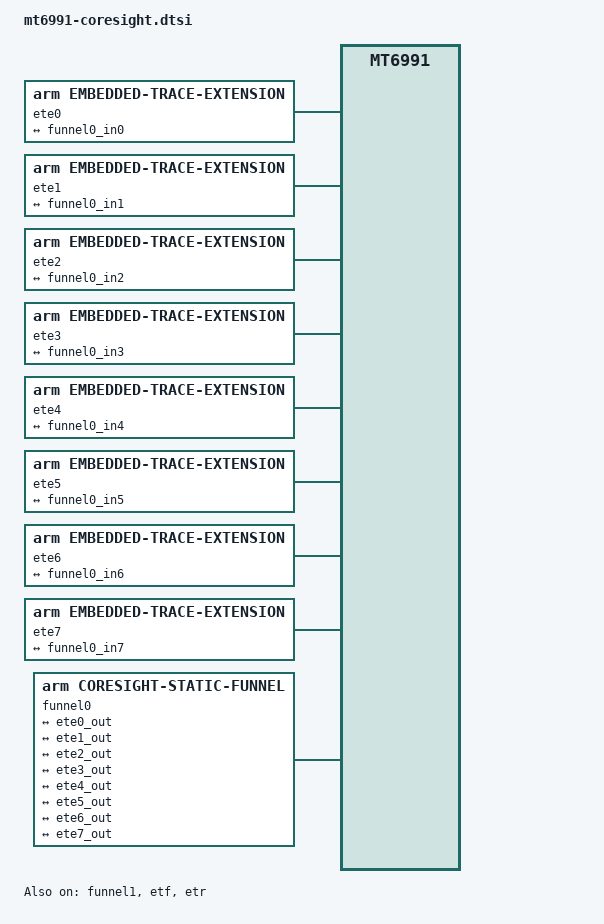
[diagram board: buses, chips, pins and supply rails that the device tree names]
// SPDX-License-Identifier: GPL-2.0
/*
 * Copyright (c) 2024 MediaTek Inc.
 */

/ {
	soc {
		funnel1: funnel@d041000 {
			compatible = "arm,coresight-dynamic-funnel", "arm,primecell";
			reg = <0 0x0d041000 0 0x1000>;

			status = "ok";

			clocks = <&clk26m>;
			clock-names = "apb_pclk";

			in-ports {
				#address-cells = <1>;
				#size-cells = <0>;

				port@0 {
					reg = <0>;
					funnel1_in0: endpoint {
						remote-endpoint = <&btts_out>;
					};
				};

				port@1 {
					reg = <1>;
					funnel1_in1: endpoint {
						remote-endpoint = <&btm0_out>;
					};
				};

				port@2 {
					reg = <2>;
					funnel1_in2: endpoint {
						remote-endpoint = <&btm1_out>;
					};
				};

				port@3 {
					reg = <3>;
					funnel1_in3: endpoint {
						remote-endpoint = <&btm2_out>;
					};
				};

				port@6 {
					reg = <6>;
					funnel1_in6: endpoint {
						remote-endpoint = <&funnel0_out>;
					};
				};

				port@7 {
					reg = <7>;
					funnel1_in7: endpoint {
						remote-endpoint = <&gpu_etm_out>;
					};
				};
			};

			out-ports {
				port {
					funnel1_out: endpoint {
						remote-endpoint = <&etf_in>;
					};
				};
			};
		};

		etf: etf@d044000 {
			compatible = "arm,coresight-tmc", "arm,primecell";
			reg = <0 0x0d044000 0 0x1000>;

			clocks = <&clk26m>;
			clock-names = "apb_pclk";

			status = "ok";

			in-ports {
				port {
					etf_in: endpoint {
						remote-endpoint = <&funnel1_out>;
					};
				};
			};

			out-ports {
				port {
					etf_out: endpoint {
						remote-endpoint = <&etr_in>;
					};
				};
			};
		};

		etr: etr@d07d000 {
			compatible = "arm,coresight-tmc", "arm,primecell";
			reg = <0 0x0d07d000 0 0x1000>;

			clocks = <&clk26m>;
			clock-names = "apb_pclk";

			status = "ok";

			in-ports {
				port {
					etr_in: endpoint {
						remote-endpoint = <&etf_out>;
					};
				};
			};
		};

		btts: btts {
			compatible = "arm,coresight-dummy-source";

			status = "ok";

			out-ports {
				port {
					btts_out: endpoint {
						remote-endpoint = <&funnel1_in0>;
					};
				};
			};
		};

		btm0: btm0 {
			compatible = "arm,coresight-dummy-source";

			status = "ok";

			out-ports {
				port {
					btm0_out: endpoint {
						remote-endpoint = <&funnel1_in1>;
					};
				};
			};
		};

		btm1: btm1 {
			compatible = "arm,coresight-dummy-source";

			status = "ok";

			out-ports {
				port {
					btm1_out: endpoint {
						remote-endpoint = <&funnel1_in2>;
					};
				};
			};
		};

		btm2: btm2 {
			compatible = "arm,coresight-dummy-source";

			status = "ok";

			out-ports {
				port {
					btm2_out: endpoint {
						remote-endpoint = <&funnel1_in3>;
					};
				};
			};
		};

		gpu_etm: gpu-etm {
			compatible = "arm,coresight-dummy-source";

			status = "ok";

			out-ports {
				port {
					gpu_etm_out: endpoint {
						remote-endpoint = <&funnel1_in7>;
					};
				};
			};
		};

		ete0: ete0 {
			compatible = "arm,embedded-trace-extension";
			cpu = <&cpu0>;

			status = "ok";

			out-ports {
				port {
					ete0_out: endpoint {
						remote-endpoint = <&funnel0_in0>;
					};
				};
			};
		};

		ete1: ete1 {
			compatible = "arm,embedded-trace-extension";
			cpu = <&cpu1>;

			status = "ok";

			out-ports {
				port {
					ete1_out: endpoint {
						remote-endpoint = <&funnel0_in1>;
					};
				};
			};
		};

		ete2: ete2 {
			compatible = "arm,embedded-trace-extension";
			cpu = <&cpu2>;

			status = "ok";

			out-ports {
				port {
					ete2_out: endpoint {
						remote-endpoint = <&funnel0_in2>;
					};
				};
			};
		};

		ete3: ete3 {
			compatible = "arm,embedded-trace-extension";
			cpu = <&cpu3>;

			status = "ok";

			out-ports {
				port {
					ete3_out: endpoint {
						remote-endpoint = <&funnel0_in3>;
					};
				};
			};
		};

		ete4: ete4 {
			compatible = "arm,embedded-trace-extension";
			cpu = <&cpu4>;

			status = "ok";

			out-ports {
				port {
					ete4_out: endpoint {
						remote-endpoint = <&funnel0_in4>;
					};
				};
			};
		};

		ete5: ete5 {
			compatible = "arm,embedded-trace-extension";
			cpu = <&cpu5>;

			status = "ok";

			out-ports {
				port {
					ete5_out: endpoint {
						remote-endpoint = <&funnel0_in5>;
					};
				};
			};
		};

		ete6: ete6 {
			compatible = "arm,embedded-trace-extension";
			cpu = <&cpu6>;

			status = "ok";

			out-ports {
				port {
					ete6_out: endpoint {
						remote-endpoint = <&funnel0_in6>;
					};
				};
			};
		};

		ete7: ete7 {
			compatible = "arm,embedded-trace-extension";
			cpu = <&cpu7>;

			status = "ok";

			out-ports {
				port {
					ete7_out: endpoint {
						remote-endpoint = <&funnel0_in7>;
					};
				};
			};
		};

		funnel0: funnel0 {
			compatible = "arm,coresight-static-funnel";

			in-ports {
				#address-cells = <1>;
				#size-cells = <0>;

				port@0 {
					reg = <0>;
					funnel0_in0: endpoint {
						remote-endpoint = <&ete0_out>;
					};
				};
				port@1 {
					reg = <1>;
					funnel0_in1: endpoint {
						remote-endpoint = <&ete1_out>;
					};
				};
				port@2 {
					reg = <2>;
					funnel0_in2: endpoint {
						remote-endpoint = <&ete2_out>;
					};
				};
				port@3 {
					reg = <3>;
					funnel0_in3: endpoint {
						remote-endpoint = <&ete3_out>;
					};
				};
				port@4 {
					reg = <4>;
					funnel0_in4: endpoint {
						remote-endpoint = <&ete4_out>;
					};
				};
				port@5 {
					reg = <5>;
					funnel0_in5: endpoint {
						remote-endpoint = <&ete5_out>;
					};
				};
				port@6 {
					reg = <6>;
					funnel0_in6: endpoint {
						remote-endpoint = <&ete6_out>;
					};
				};
				port@7 {
					reg = <7>;
					funnel0_in7: endpoint {
						remote-endpoint = <&ete7_out>;
					};
				};
			};

			out-ports {
				port {
					funnel0_out: endpoint {
						remote-endpoint = <&funnel1_in6>;
					};
				};
			};
		};

		trbe {
			compatible = "arm,trace-buffer-extension";
			interrupt-parent = <&gic>;
			interrupts = <GIC_PPI 4 IRQ_TYPE_LEVEL_HIGH 0>;
		};
	};
};
